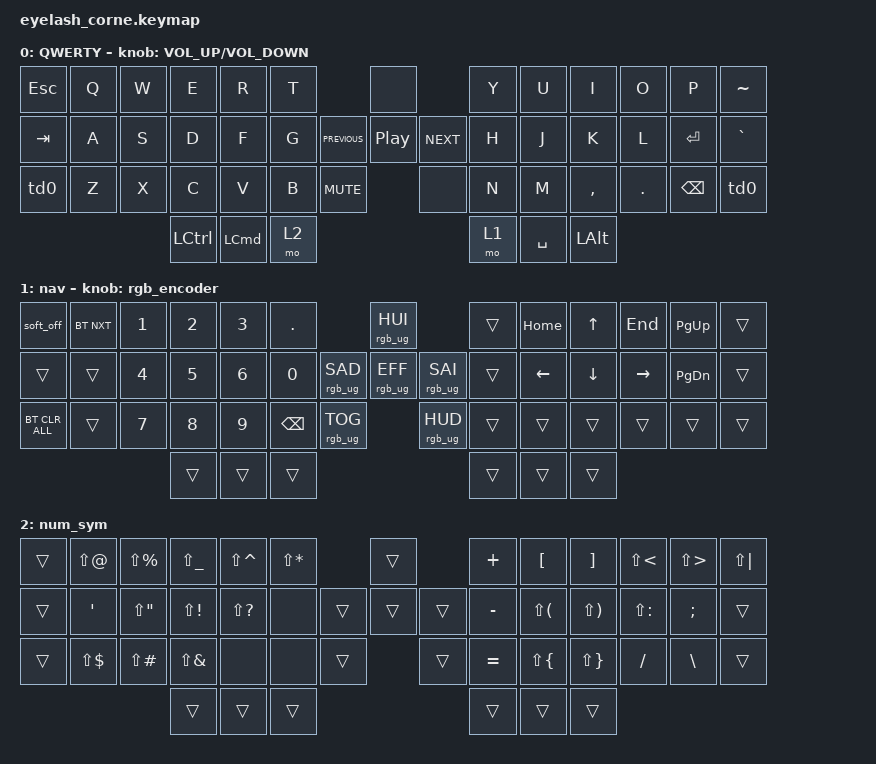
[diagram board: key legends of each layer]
#include <dt-bindings/zmk/mouse.h>
#include <input/processors.dtsi>
#include <behaviors.dtsi>
#include <dt-bindings/zmk/bt.h>
#include <dt-bindings/zmk/keys.h>
#include <dt-bindings/zmk/pointing.h>
#include <dt-bindings/zmk/rgb.h>

/*

   &mmv_input_listener {
       input-processors = <&zip_xy_scaler 2 1>;
   };

   &msc_input_listener {
       input-processors = <&zip_xy_scaler 2 1>;
   };

 */

#define ZMK_MOUSE_DEFAULT_MOVE_VAL 1200  // 600
#define ZMK_MOUSE_DEFAULT_SCRL_VAL 20    // 10

/ {
    behaviors {
        td0: td0 {
            compatible = "zmk,behavior-tap-dance";
            display-name = "Shift/Caps Lock Tap Dance";
            #binding-cells = <0>;
            bindings = <&kp LEFT_SHIFT>, <&kp CAPS>;
        };
    };

    rgb_encoder: rgb_encoder {
        compatible = "zmk,behavior-sensor-rotate";
        #sensor-binding-cells = <0>;
        bindings = <&rgb_ug RGB_BRI>, <&rgb_ug RGB_BRD>;
    };

    scroll_encoder: scroll_encoder {
        compatible = "zmk,behavior-sensor-rotate";
        #sensor-binding-cells = <0>;
        bindings = <&msc SCRL_DOWN>, <&msc SCRL_UP>;

        tap-ms = <30>;
    };

    keymap {
        compatible = "zmk,keymap";

        default_layer {
            display-name = "QWERTY";
            bindings = <
&kp ESC  &kp Q  &kp W  &kp E      &kp R             &kp T                                &none                         &kp Y  &kp U      &kp I      &kp O    &kp P     &kp TILDE
&kp TAB  &kp A  &kp S  &kp D      &kp F             &kp G                &kp C_PREVIOUS  &kp C_PLAY_PAUSE  &kp C_NEXT  &kp H  &kp J      &kp K      &kp L    &kp RET   &kp GRAVE
&td0     &kp Z  &kp X  &kp C      &kp V             &kp B  &kp C_MUTE                    &none                         &kp N  &kp M      &kp COMMA  &kp DOT  &kp BSPC  &td0
                       &kp LCTRL  &kp LEFT_COMMAND  &mo 2                                                              &mo 1  &kp SPACE  &kp LALT
            >;

            sensor-bindings = <&inc_dec_kp C_VOLUME_UP C_VOLUME_DOWN>;
        };

        nav {
            bindings = <
&soft_off       &bt BT_NXT  &kp N1  &kp N2  &kp N3  &kp DOT                                       &rgb_ug RGB_HUI                   &trans  &kp HOME        &kp UP_ARROW    &kp END          &kp PG_UP  &trans
&trans          &trans      &kp N4  &kp N5  &kp N6  &kp N0                       &rgb_ug RGB_SAD  &rgb_ug RGB_EFF  &rgb_ug RGB_SAI  &trans  &kp LEFT_ARROW  &kp DOWN_ARROW  &kp RIGHT_ARROW  &kp PG_DN  &trans
&bt BT_CLR_ALL  &trans      &kp N7  &kp N8  &kp N9  &kp BSPC  &rgb_ug RGB_TOG                     &rgb_ug RGB_HUD                   &trans  &trans          &trans          &trans           &trans     &trans
                                    &trans  &trans  &trans                                                                          &trans  &trans          &trans
            >;

            sensor-bindings = <&rgb_encoder>;
        };

        num_sym {
            bindings = <
&trans  &kp LS(AT)    &kp LS(PRCNT)  &kp LS(UNDER)  &kp LS(CARET)  &kp LS(STAR)                    &trans          &kp PLUS   &kp LBKT                  &kp RBKT      &kp LS(LT)     &kp LS(GT)  &kp LS(PIPE)
&trans  &kp SQT       &kp LS(DQT)    &kp LS(EXCL)   &kp LS(QMARK)  &none                   &trans  &trans  &trans  &kp MINUS  &kp LS(LEFT_PARENTHESIS)  &kp LS(RPAR)  &kp LS(COLON)  &kp SEMI    &trans
&trans  &kp LS(DLLR)  &kp LS(POUND)  &kp LS(AMPS)   &none          &none         &trans            &trans          &kp EQUAL  &kp LS(LBRC)              &kp LS(RBRC)  &kp FSLH       &kp BSLH    &trans
                                     &trans         &trans         &trans                                          &trans     &trans                    &trans
            >;
        };
    };
};
